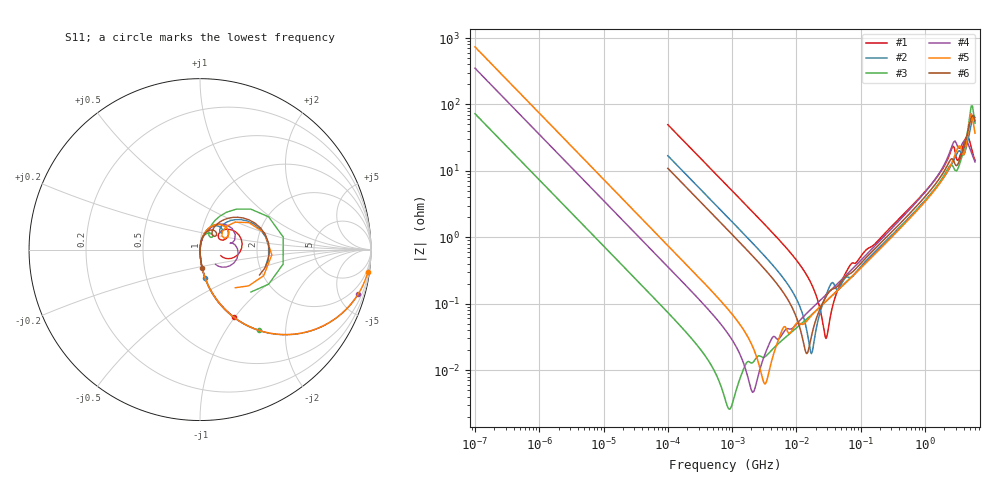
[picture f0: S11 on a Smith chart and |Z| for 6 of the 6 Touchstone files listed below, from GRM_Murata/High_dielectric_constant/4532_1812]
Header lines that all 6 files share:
!These Parameters are Measured in Series Mode Connection
!Data Generated on Mar 30, 2021
!  o--ll--o
!Port1  Port2
!  o------o
!Operation Temp=25[degC], DC Bias Voltage=0[V]
# Hz S RI R 50
!Freq.(Hz) S11(Real) S11(Imag) S21(Real) S21(Imag) S12(Real) S12(Imag) S22(Real) S22(Imag)
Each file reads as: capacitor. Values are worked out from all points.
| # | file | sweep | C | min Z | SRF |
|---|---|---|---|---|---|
| 1 | GRM43DR7LX333KW01.s2p | 100 kHz to 6 GHz | 32 nF | 30 mohm | 28.94 MHz |
| 2 | GRM43DR72J104KW01.s2p | 100 kHz to 6 GHz | 93.9 nF | 17.7 mohm | 17.21 MHz |
| 3 | GRM43EB11C226ME01.s2p | 100 Hz to 6 GHz | 21.9 uF | 2.59 mohm | 5.358 GHz |
| 4 | GRM43ER61H475KA88.s2p | 100 Hz to 6 GHz | 4.52 uF | 4.63 mohm | 2.126 MHz |
| 5 | GRM43ER71H225KA01.s2p | 100 Hz to 6 GHz | 2.16 uF | 6.16 mohm | 3.283 MHz |
| 6 | GRM43QR72E154KW01.s2p | 100 kHz to 6 GHz | 145 nF | 17.7 mohm | 14.54 MHz |
